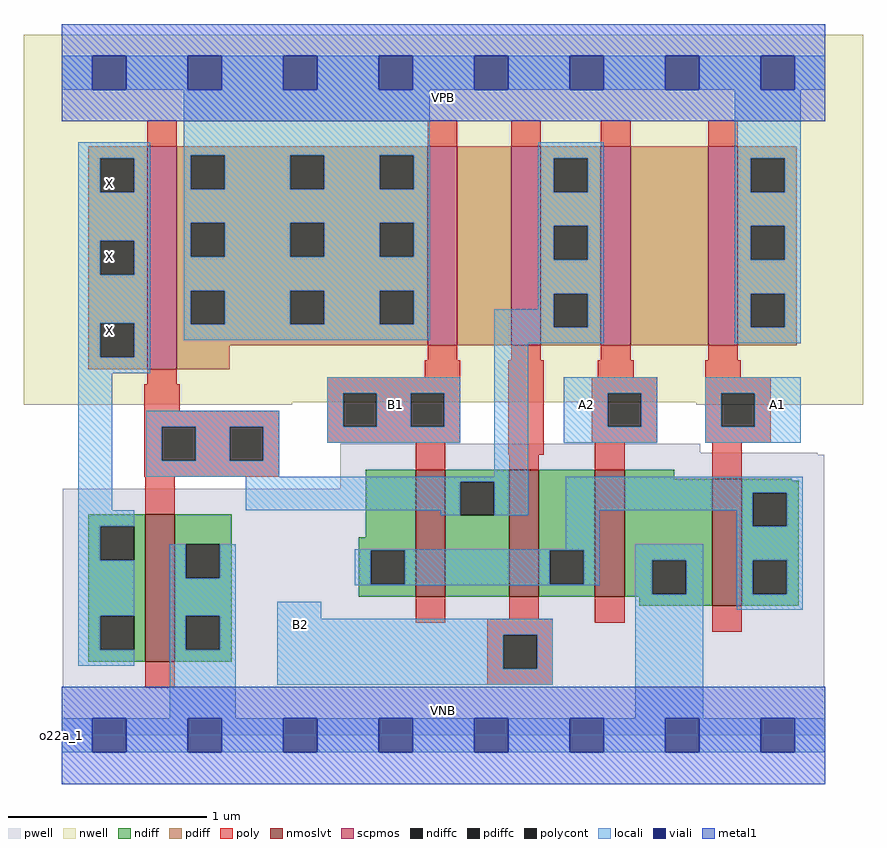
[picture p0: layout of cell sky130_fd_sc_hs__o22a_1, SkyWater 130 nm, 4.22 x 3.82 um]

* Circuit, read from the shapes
.subckt sky130_fd_sc_hs__o22a_1 A1 A2 B1 B2 VGND VNB VPB VPWR X
XM1 VGND n1 X VNB sky130_fd_pr__nfet_01v8_lvt w=0.74 l=0.15
XM2 n1 B1 n2 VNB sky130_fd_pr__nfet_01v8_lvt w=0.64 l=0.15
XM3 n2 B2 n1 VNB sky130_fd_pr__nfet_01v8_lvt w=0.64 l=0.15
XM4 VGND A2 n2 VNB sky130_fd_pr__nfet_01v8_lvt w=0.64 l=0.15
XM5 n2 A1 VGND VNB sky130_fd_pr__nfet_01v8_lvt w=0.64 l=0.15
XM6 VPWR n1 X VPB sky130_fd_pr__pfet_01v8 w=1.12 l=0.15
XM7 n3 B1 VPWR VPB sky130_fd_pr__pfet_01v8 w=1 l=0.15
XM8 n1 B2 n3 VPB sky130_fd_pr__pfet_01v8 w=1 l=0.15
XM9 n4 A2 n1 VPB sky130_fd_pr__pfet_01v8 w=1 l=0.15
XM10 VPWR A1 n4 VPB sky130_fd_pr__pfet_01v8 w=1 l=0.15
.ends

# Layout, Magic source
magic
tech sky130A
magscale 1 2
<< nwell >>
rect -38 335 806 704
rect -38 332 232 335
rect 638 332 806 335
<< pwell >>
rect 280 284 642 293
rect 280 282 760 284
rect 280 248 767 282
rect 1 49 767 248
rect 0 0 768 49
<< scpmos >>
rect 86 368 116 592
rect 368 392 398 592
rect 452 392 482 592
rect 542 392 572 592
rect 650 392 680 592
<< nmoslvt >>
rect 84 74 114 222
rect 356 139 386 267
rect 450 139 480 267
rect 536 139 566 267
rect 654 130 684 258
<< ndiff >>
rect 27 210 84 222
rect 27 176 39 210
rect 73 176 84 210
rect 27 120 84 176
rect 27 86 39 120
rect 73 86 84 120
rect 27 74 84 86
rect 114 192 171 222
rect 306 199 356 267
rect 114 158 125 192
rect 159 158 171 192
rect 114 120 171 158
rect 299 186 356 199
rect 299 152 311 186
rect 345 152 356 186
rect 299 139 356 152
rect 386 255 450 267
rect 386 221 401 255
rect 435 221 450 255
rect 386 139 450 221
rect 480 186 536 267
rect 480 152 491 186
rect 525 152 536 186
rect 480 139 536 152
rect 566 258 616 267
rect 566 176 654 258
rect 566 142 594 176
rect 628 142 654 176
rect 566 139 654 142
rect 114 86 125 120
rect 159 86 171 120
rect 114 74 171 86
rect 581 130 654 139
rect 684 256 734 258
rect 684 244 741 256
rect 684 210 695 244
rect 729 210 741 244
rect 684 176 741 210
rect 684 142 695 176
rect 729 142 741 176
rect 684 130 741 142
<< pdiff >>
rect 27 580 86 592
rect 27 546 39 580
rect 73 546 86 580
rect 27 497 86 546
rect 27 463 39 497
rect 73 463 86 497
rect 27 414 86 463
rect 27 380 39 414
rect 73 380 86 414
rect 27 368 86 380
rect 116 583 368 592
rect 116 549 130 583
rect 164 549 230 583
rect 264 549 320 583
rect 354 549 368 583
rect 116 515 368 549
rect 116 481 130 515
rect 164 481 230 515
rect 264 481 320 515
rect 354 481 368 515
rect 116 447 368 481
rect 116 413 130 447
rect 164 413 230 447
rect 264 413 320 447
rect 354 413 368 447
rect 116 392 368 413
rect 398 392 452 592
rect 482 580 542 592
rect 482 546 495 580
rect 529 546 542 580
rect 482 512 542 546
rect 482 478 495 512
rect 529 478 542 512
rect 482 444 542 478
rect 482 410 495 444
rect 529 410 542 444
rect 482 392 542 410
rect 572 392 650 592
rect 680 580 739 592
rect 680 546 693 580
rect 727 546 739 580
rect 680 512 739 546
rect 680 478 693 512
rect 727 478 739 512
rect 680 444 739 478
rect 680 410 693 444
rect 727 410 739 444
rect 680 392 739 410
rect 116 368 169 392
<< ndiffc >>
rect 39 176 73 210
rect 39 86 73 120
rect 125 158 159 192
rect 311 152 345 186
rect 401 221 435 255
rect 491 152 525 186
rect 594 142 628 176
rect 125 86 159 120
rect 695 210 729 244
rect 695 142 729 176
<< pdiffc >>
rect 39 546 73 580
rect 39 463 73 497
rect 39 380 73 414
rect 130 549 164 583
rect 230 549 264 583
rect 320 549 354 583
rect 130 481 164 515
rect 230 481 264 515
rect 320 481 354 515
rect 130 413 164 447
rect 230 413 264 447
rect 320 413 354 447
rect 495 546 529 580
rect 495 478 529 512
rect 495 410 529 444
rect 693 546 727 580
rect 693 478 727 512
rect 693 410 727 444
<< poly >>
rect 86 592 116 618
rect 368 592 398 618
rect 452 592 482 618
rect 542 592 572 618
rect 650 592 680 618
rect 368 377 398 392
rect 452 377 482 392
rect 542 377 572 392
rect 650 377 680 392
rect 86 353 116 368
rect 365 360 401 377
rect 83 326 119 353
rect 267 344 401 360
rect 83 310 219 326
rect 83 276 101 310
rect 135 276 169 310
rect 203 276 219 310
rect 267 310 283 344
rect 317 310 351 344
rect 385 310 401 344
rect 267 294 401 310
rect 83 260 219 276
rect 356 267 386 294
rect 449 282 485 377
rect 539 360 575 377
rect 647 360 683 377
rect 533 344 599 360
rect 533 310 549 344
rect 583 310 599 344
rect 533 294 599 310
rect 647 344 713 360
rect 647 310 663 344
rect 697 310 713 344
rect 647 294 713 310
rect 450 267 480 282
rect 536 267 566 294
rect 84 222 114 260
rect 654 258 684 294
rect 356 113 386 139
rect 450 117 480 139
rect 428 101 494 117
rect 536 113 566 139
rect 654 104 684 130
rect 84 48 114 74
rect 428 67 444 101
rect 478 67 494 101
rect 428 51 494 67
<< polycont >>
rect 101 276 135 310
rect 169 276 203 310
rect 283 310 317 344
rect 351 310 385 344
rect 549 310 583 344
rect 663 310 697 344
rect 444 67 478 101
<< locali >>
rect 0 649 31 683
rect 65 649 127 683
rect 161 649 223 683
rect 257 649 319 683
rect 353 649 415 683
rect 449 649 511 683
rect 545 649 607 683
rect 641 649 703 683
rect 737 649 768 683
rect 17 580 89 596
rect 17 546 39 580
rect 73 546 89 580
rect 17 497 89 546
rect 17 463 39 497
rect 73 463 89 497
rect 17 414 89 463
rect 17 380 39 414
rect 73 380 89 414
rect 123 583 370 649
rect 123 549 130 583
rect 164 549 230 583
rect 264 549 320 583
rect 354 549 370 583
rect 123 515 370 549
rect 123 481 130 515
rect 164 481 230 515
rect 264 481 320 515
rect 354 481 370 515
rect 123 447 370 481
rect 123 413 130 447
rect 164 413 230 447
rect 264 413 320 447
rect 354 413 370 447
rect 479 580 545 596
rect 479 546 495 580
rect 529 546 545 580
rect 479 512 545 546
rect 479 478 495 512
rect 529 478 545 512
rect 479 444 545 478
rect 479 428 495 444
rect 123 397 370 413
rect 435 410 495 428
rect 529 410 545 444
rect 17 364 89 380
rect 435 394 545 410
rect 677 580 743 649
rect 677 546 693 580
rect 727 546 743 580
rect 677 512 743 546
rect 677 478 693 512
rect 727 478 743 512
rect 677 444 743 478
rect 677 410 693 444
rect 727 410 743 444
rect 677 394 743 410
rect 17 226 51 364
rect 267 344 401 360
rect 85 310 219 326
rect 85 276 101 310
rect 135 276 169 310
rect 203 276 219 310
rect 267 310 283 344
rect 317 310 351 344
rect 385 310 401 344
rect 267 294 401 310
rect 85 260 219 276
rect 435 260 469 394
rect 505 344 599 360
rect 505 310 549 344
rect 583 310 599 344
rect 505 294 599 310
rect 647 344 743 360
rect 647 310 663 344
rect 697 310 743 344
rect 647 294 743 310
rect 185 255 469 260
rect 185 226 401 255
rect 17 210 73 226
rect 381 221 401 226
rect 435 221 469 255
rect 507 244 745 260
rect 507 226 695 244
rect 17 176 39 210
rect 17 120 73 176
rect 17 86 39 120
rect 17 70 73 86
rect 109 158 125 192
rect 159 158 175 192
rect 507 187 541 226
rect 679 210 695 226
rect 729 210 745 244
rect 109 120 175 158
rect 295 186 541 187
rect 295 152 311 186
rect 345 152 491 186
rect 525 152 541 186
rect 295 151 541 152
rect 577 176 645 192
rect 577 142 594 176
rect 628 142 645 176
rect 109 86 125 120
rect 159 86 175 120
rect 109 17 175 86
rect 217 117 261 134
rect 217 101 494 117
rect 217 67 444 101
rect 478 67 494 101
rect 217 51 494 67
rect 577 17 645 142
rect 679 176 745 210
rect 679 142 695 176
rect 729 142 745 176
rect 679 126 745 142
rect 0 -17 31 17
rect 65 -17 127 17
rect 161 -17 223 17
rect 257 -17 319 17
rect 353 -17 415 17
rect 449 -17 511 17
rect 545 -17 607 17
rect 641 -17 703 17
rect 737 -17 768 17
<< viali >>
rect 31 649 65 683
rect 127 649 161 683
rect 223 649 257 683
rect 319 649 353 683
rect 415 649 449 683
rect 511 649 545 683
rect 607 649 641 683
rect 703 649 737 683
rect 31 -17 65 17
rect 127 -17 161 17
rect 223 -17 257 17
rect 319 -17 353 17
rect 415 -17 449 17
rect 511 -17 545 17
rect 607 -17 641 17
rect 703 -17 737 17
<< metal1 >>
rect 0 683 768 715
rect 0 649 31 683
rect 65 649 127 683
rect 161 649 223 683
rect 257 649 319 683
rect 353 649 415 683
rect 449 649 511 683
rect 545 649 607 683
rect 641 649 703 683
rect 737 649 768 683
rect 0 617 768 649
rect 0 17 768 49
rect 0 -17 31 17
rect 65 -17 127 17
rect 161 -17 223 17
rect 257 -17 319 17
rect 353 -17 415 17
rect 449 -17 511 17
rect 545 -17 607 17
rect 641 -17 703 17
rect 737 -17 768 17
rect 0 -49 768 -17
<< labels >>
rlabel comment s 0 0 0 0 4 o22a_1
flabel pwell s 0 0 768 49 0 FreeSans 200 0 0 0 VNB
port 6 nsew ground bidirectional
flabel nwell s 0 617 768 666 0 FreeSans 200 0 0 0 VPB
port 7 nsew power bidirectional
flabel metal1 s 0 617 768 666 0 FreeSans 340 0 0 0 VPWR
port 8 nsew power bidirectional
flabel metal1 s 0 0 768 49 0 FreeSans 340 0 0 0 VGND
port 5 nsew ground bidirectional
flabel locali s 31 390 65 424 0 FreeSans 340 0 0 0 X
port 9 nsew signal output
flabel locali s 31 464 65 498 0 FreeSans 340 0 0 0 X
port 9 nsew signal output
flabel locali s 31 538 65 572 0 FreeSans 340 0 0 0 X
port 9 nsew signal output
flabel locali s 319 316 353 350 0 FreeSans 340 0 0 0 B1
port 3 nsew signal input
flabel locali s 511 316 545 350 0 FreeSans 340 0 0 0 A2
port 2 nsew signal input
flabel locali s 223 94 257 128 0 FreeSans 340 0 0 0 B2
port 4 nsew signal input
flabel locali s 703 316 737 350 0 FreeSans 340 0 0 0 A1
port 1 nsew signal input
<< properties >>
string LEFsite unit
string LEFclass CORE
string FIXED_BBOX 0 0 768 666
string GDS_FILE $PDKPATH/libs.ref/sky130_fd_sc_hs/gds/sky130_fd_sc_hs.gds
string LEFsymmetry X Y
string GDS_END 117450
string GDS_START 109900
<< end >>
